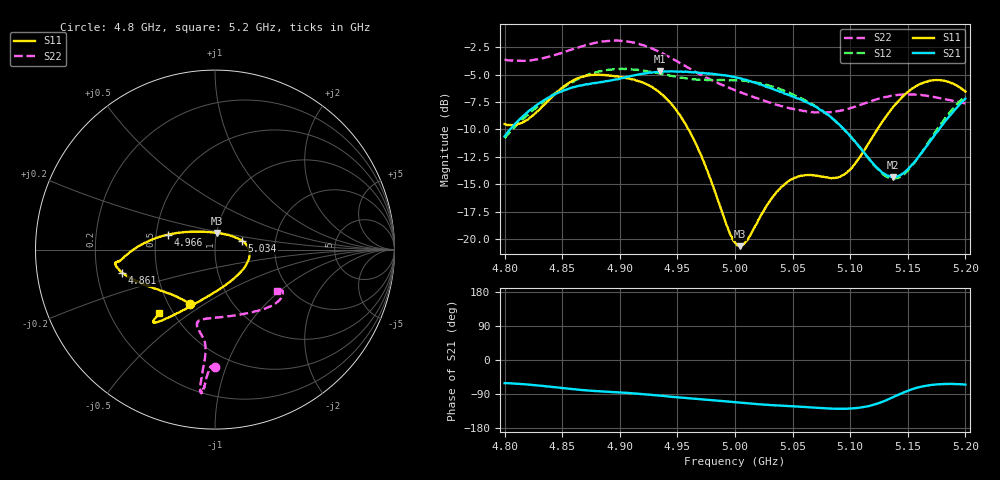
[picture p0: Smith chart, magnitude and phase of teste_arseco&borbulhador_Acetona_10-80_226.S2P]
! Network Analyzer HP8722D
! Hewlett-Packard
! Data name: Linha & Wilkinson
! Saver's name: Rodrigo Anjos
! Comments: Teste da utilização de aquisição
! continua pelo VNA HP8722D
! Time and date: 17/4/2025 16:14
!  Frequency  S11  S21  S12  S22
# HZ  S  MA R 50
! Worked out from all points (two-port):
!   401 points, 4.8 GHz to 5.2 GHz, reference 50 ohm
!   highest |S21| = -4.71 dB at 4.935 GHz (marker M1); lowest = -14.3 dB at 5.137 GHz (marker M2)
!   |S21| within 3 dB of the highest: 4.829 GHz to 5.066 GHz (236.5 MHz wide, 4.78 % of centre); 5.195113 GHz to end of sweep
!   lowest |S11| = -20.6 dB at 5.004 GHz (marker M3), VSWR 1.21, Z = 50.2 + j9.36 ohm
!   |S11| at or under -10 dB: 4.96 GHz to 5.123 GHz (163.8 MHz wide, 3.25 % of centre)
!   |S22| runs from -8.5 to -1.9 dB; largest |S21 - S12| = 0.88
!   S11 on the Smith chart (normalised r, x): 4.8 GHz: 0.64, -0.44; 4.861 GHz: 0.31, -0.11; 4.966 GHz: 0.58, +0.10; 5.034 GHz: 1.35, +0.14; 5.2 GHz: 0.42, -0.38
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4.8e9  0.3343 -114.2  0.294 -61.0  0.2887 -175.1  0.6564 -90.2
4.819e9  0.3485 -134.1  0.3754 -64.5  0.3641 -174.2  0.6505 -91.8
4.861e9  0.5337 -166.0  0.4936 -77.5  0.5273 -177.4  0.7395 -94.1
4.867e9  0.5483 -168.5  0.5023 -79.3  0.5454 -178.3  0.7562 -94.3
4.899e9  0.5488 -172.9  0.5367 -85.6  0.5963 175.1  0.8022 -95.6
4.934e9  0.4689 -178.8  0.5781 -93.9  0.5703 171.4  0.7137 -96.0
4.935e9  0.4637 -179.2  0.5817 -94.0  0.567 171.5  0.7097 -96.1
4.951e9  0.3739 172.8  0.5795 -98.7  0.5473 171.9  0.6414 -95.5
4.966e9  0.2724 162.2  0.5756 -102.3  0.5339 173.4  0.5772 -95.2
5e9  0.09651 98.1  0.547 -111.5  0.5305 175.8  0.4771 -99.3
5.004e9  0.09299 83.5  0.5415 -112.4  0.5286 175.8  0.4689 -100.2
5.011e9  0.09974 59.3  0.5285 -114.4  0.5244 175.6  0.4545 -101.9
5.034e9  0.1588 18.0  0.4802 -119.5  0.4925 174.6  0.4125 -103.3
5.049e9  0.1871 2.8  0.4481 -121.9  0.4589 173.9  0.3934 -99.7
5.067e9  0.1959 -16.4  0.4088 -125.2  0.412 173.3  0.3792 -90.1
5.085e9  0.1901 -44.7  0.3534 -128.4  0.3534 173.4  0.3805 -76.7
5.097e9  0.2006 -68.9  0.3066 -128.6  0.3077 174.8  0.3914 -66.8
5.134e9  0.3793 -117.6  0.1937 -102.5  0.1899 -155.4  0.4482 -43.1
5.137e9  0.3979 -119.3  0.1918 -98.3  0.1887 -150.6  0.451 -41.8
5.15e9  0.4681 -125.1  0.2081 -81.3  0.2048 -131.0  0.4567 -36.9
5.17e9  0.5275 -129.6  0.2818 -66.0  0.2876 -112.2  0.447 -32.3
5.2e9  0.4703 -131.2  0.4364 -64.8  0.4487 -106.9  0.4151 -33.6
